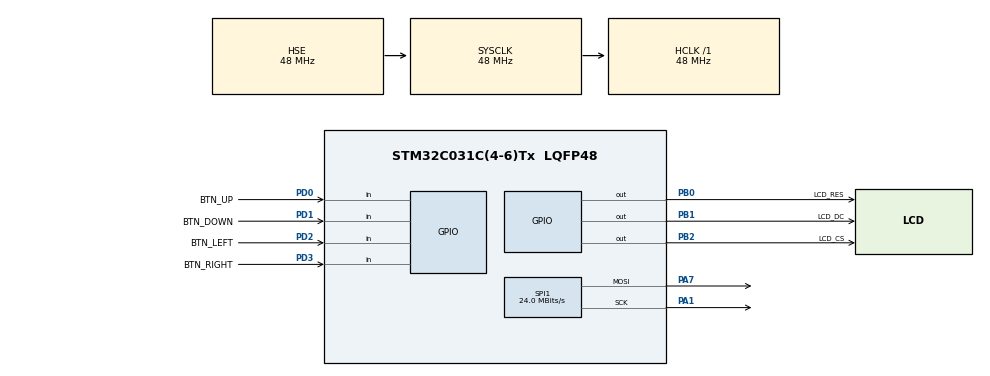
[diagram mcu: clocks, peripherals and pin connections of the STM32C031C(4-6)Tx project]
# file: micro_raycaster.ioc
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Mcu.Family=STM32C0
Mcu.Name=STM32C031C(4-6)Tx
Mcu.Package=LQFP48
NUCLEO-C031C6.BUTTON=1
NUCLEO-C031C6.LD4=true
NUCLEO-C031C6.VCP=true
NVIC.EXTI4_15_IRQn=true\:0\:0\:false\:false\:true\:false\:true\:true
PA1.GPIO_Speed=GPIO_SPEED_FREQ_HIGH
PA1.Mode=TX_Only_Simplex_Unidirect_Master
PA1.PinState=GPIO_PIN_SET
PA1.Signal=SPI1_SCK
PA13.GPIO_Label=DEBUG_SWDIO
PA13.Signal=DEBUG_SWDIO
PA14-BOOT0.GPIO_Label=DEBUG_SWCLK
PA14-BOOT0.Signal=DEBUG_SWCLK
PA2.Signal=USART2_TX
PA3.Signal=USART2_RX
PA7.GPIO_Speed=GPIO_SPEED_FREQ_HIGH
PA7.Mode=TX_Only_Simplex_Unidirect_Master
PA7.PinState=GPIO_PIN_SET
PA7.Signal=SPI1_MOSI
PB0.GPIO_Label=LCD_RES
PB0.GPIO_Speed=GPIO_SPEED_FREQ_HIGH
PB0.PinState=GPIO_PIN_SET
PB0.Signal=GPIO_Output
PB1.GPIO_Label=LCD_DC
PB1.GPIO_Speed=GPIO_SPEED_FREQ_HIGH
PB1.PinState=GPIO_PIN_SET
PB1.Signal=GPIO_Output
PB2.GPIO_Label=LCD_CS
PB2.GPIO_Speed=GPIO_SPEED_FREQ_HIGH
PB2.PinState=GPIO_PIN_SET
PB2.Signal=GPIO_Output
PC14-OSCX_IN\ (PC14).GPIO_Label=RCC_OSCX_IN
PC14-OSCX_IN\ (PC14).Mode=LSE-External-Oscillator
PC14-OSCX_IN\ (PC14).Signal=RCC_OSCX_IN
PC15-OSCX_OUT\ (PC15).GPIO_Label=RCC_OSCX_OUT
PC15-OSCX_OUT\ (PC15).Mode=LSE-External-Oscillator
PC15-OSCX_OUT\ (PC15).Signal=RCC_OSCX_OUT
PD0.GPIO_Label=BTN_UP
PD0.GPIO_PuPd=GPIO_PULLUP
PD0.Signal=GPIO_Input
PD1.GPIO_Label=BTN_DOWN
PD1.GPIO_PuPd=GPIO_PULLUP
PD1.Signal=GPIO_Input
PD2.GPIO_Label=BTN_LEFT
PD2.GPIO_PuPd=GPIO_PULLUP
PD2.Signal=GPIO_Input
PD3.GPIO_Label=BTN_RIGHT
PD3.GPIO_PuPd=GPIO_PULLUP
PD3.Signal=GPIO_Input
PF0-OSC_IN\ (PF0).GPIO_Label=RCC_OSC_IN
PF0-OSC_IN\ (PF0).Mode=HSE-External-Oscillator
PF0-OSC_IN\ (PF0).Signal=RCC_OSC_IN
PF1-OSC_OUT\ (PF1).GPIO_Label=RCC_OSC_OUT
PF1-OSC_OUT\ (PF1).Mode=HSE-External-Oscillator
PF1-OSC_OUT\ (PF1).Signal=RCC_OSC_OUT
ProjectManager.HeapSize=0x200
ProjectManager.StackSize=0x400
ProjectManager.TargetToolchain=CMake
RCC.ADCFreq_Value=48000000
RCC.AHBFreq_Value=48000000
RCC.CortexFreq_Value=48000000
RCC.EXTERNAL_CLOCK_VALUE=12288000
RCC.HCLKFreq_Value=48000000
RCC.HSE_VALUE=48000000
RCC.HSISYSCLKDivider=RCC_HSI_DIV1
RCC.HSI_VALUE=48000000
RCC.SYSCLKFreq_VALUE=48000000
RCC.SYSCLKSource=RCC_SYSCLKSOURCE_HSE
SPI1.CalculateBaudRate=24.0 MBits/s
SPI1.Direction=SPI_DIRECTION_2LINES
SPI1.Mode=SPI_MODE_MASTER
SPI1.VirtualType=VM_MASTER
VP_NUCLEO-C031C6_VS_BSP_COMMON.Mode=COMMON
board=NUCLEO-C031C6

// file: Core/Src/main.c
/* USER CODE BEGIN Header */
/**
 ******************************************************************************
 * @file           : main.c
 * @brief          : Main program body
 ******************************************************************************
 * @attention
 *
 * Copyright (c) 2026 STMicroelectronics.
 * All rights reserved.
 *
 * This software is licensed under terms that can be found in the LICENSE file
 * in the root directory of this software component.
 * If no LICENSE file comes with this software, it is provided AS-IS.
 *
 ******************************************************************************
 */
/* USER CODE END Header */
#include "main.h"

/* USER CODE BEGIN Includes */
#include "controls.h"

#include "dda.h"

#include "st7735.h"

#include "fixed_point.h"

#include "main.h"

#include "player.h"

#include <stdbool.h>

#include <stdint.h>

/* USER CODE END Includes */

/* USER CODE BEGIN PTD */
#define SCREEN_WIDTH 160
#define SCREEN_HEIGHT 128
/* USER CODE END PTD */

COM_InitTypeDef BspCOMInit;

SPI_HandleTypeDef hspi1;

void SystemClock_Config(void);
static void MX_GPIO_Init(void);
static void MX_SPI1_Init(void);

int main(void) {

  /* MCU Configuration--------------------------------------------------------*/

  /* Reset of all peripherals, Initializes the Flash interface and the Systick. */
  HAL_Init();

  /* Configure the system clock */
  SystemClock_Config();

  /* Initialize all configured peripherals */
  MX_GPIO_Init();
  MX_SPI1_Init();
  /* USER CODE BEGIN 2 */
  ST7735_Init(1);

  Player player;
  player_init( & player);

  uint32_t previous_time_ms = HAL_GetTick();
  /* USER CODE END 2 */

  /* Initialize leds */
  BSP_LED_Init(LED_GREEN);

  /* Initialize USER push-button, will be used to trigger an interrupt each time it's pressed.*/
  BSP_PB_Init(BUTTON_USER, BUTTON_MODE_EXTI);

  /* Initialize COM1 port (115200, 8 bits (7-bit data + 1 stop bit), no parity */
  BspCOMInit.BaudRate = 115200;
  BspCOMInit.WordLength = COM_WORDLENGTH_8B;
  BspCOMInit.StopBits = COM_STOPBITS_1;
  BspCOMInit.Parity = COM_PARITY_NONE;
  BspCOMInit.HwFlowCtl = COM_HWCONTROL_NONE;
  if (BSP_COM_Init(COM1, & BspCOMInit) != BSP_ERROR_NONE) {
    Error_Handler();
  }

  /* Infinite loop */
  /* USER CODE BEGIN WHILE */
  while (1) {
    uint32_t current_time_ms = HAL_GetTick();
    uint32_t delta_ms = current_time_ms - previous_time_ms;
    previous_time_ms = current_time_ms;

    if (delta_ms > 100) {
      delta_ms = 100;
    }

    int32_t frame_time = FIXED_DIV(INT_TO_FIXED(delta_ms), INT_TO_FIXED(1000));

    int32_t move_speed = FIXED_PRODUCT(frame_time, FLOAT_TO_FIXED(5.0F));
    int32_t rotate_speed = FIXED_PRODUCT(frame_time, FLOAT_TO_FIXED(90.0F));

    if (is_button_held(BTN_UP_PORT, BTN_UP_PIN)) {
      player_move_forward( & player, move_speed);
    }
    if (is_button_held(BTN_DOWN_PORT, BTN_DOWN_PIN)) {
      player_move_backward( & player, move_speed);
    }

    if (is_button_held(BTN_LEFT_PORT, BTN_LEFT_PIN)) {
      player_rotate( & player, -FIXED_TO_INT(rotate_speed));
    }
    if (is_button_held(BTN_RIGHT_PORT, BTN_RIGHT_PIN)) {
      player_rotate( & player, FIXED_TO_INT(rotate_speed));
    }

    update_and_render( & player, SCREEN_WIDTH, SCREEN_HEIGHT);
    /* USER CODE END WHILE */

  }
}

void SystemClock_Config(void) {
  RCC_OscInitTypeDef RCC_OscInitStruct = {
    0
  };
  RCC_ClkInitTypeDef RCC_ClkInitStruct = {
    0
  };

  __HAL_FLASH_SET_LATENCY(FLASH_LATENCY_1);

  /** Initializes the RCC Oscillators according to the specified parameters
   * in the RCC_OscInitTypeDef structure.
   */
  RCC_OscInitStruct.OscillatorType = RCC_OSCILLATORTYPE_HSE;
  RCC_OscInitStruct.HSEState = RCC_HSE_ON;
  if (HAL_RCC_OscConfig( & RCC_OscInitStruct) != HAL_OK) {
    Error_Handler();
  }

  /** Initializes the CPU, AHB and APB buses clocks
   */
  RCC_ClkInitStruct.ClockType = RCC_CLOCKTYPE_HCLK | RCC_CLOCKTYPE_SYSCLK |
    RCC_CLOCKTYPE_PCLK1;
  RCC_ClkInitStruct.SYSCLKSource = RCC_SYSCLKSOURCE_HSE;
  RCC_ClkInitStruct.SYSCLKDivider = RCC_SYSCLK_DIV1;
  RCC_ClkInitStruct.AHBCLKDivider = RCC_HCLK_DIV1;
  RCC_ClkInitStruct.APB1CLKDivider = RCC_APB1_DIV1;

  if (HAL_RCC_ClockConfig( & RCC_ClkInitStruct, FLASH_LATENCY_1) != HAL_OK) {
    Error_Handler();
  }
}

static void MX_SPI1_Init(void) {

  /* SPI1 parameter configuration*/
  hspi1.Instance = SPI1;
  hspi1.Init.Mode = SPI_MODE_MASTER;
  hspi1.Init.Direction = SPI_DIRECTION_2LINES;
  hspi1.Init.DataSize = SPI_DATASIZE_8BIT;
  hspi1.Init.CLKPolarity = SPI_POLARITY_LOW;
  hspi1.Init.CLKPhase = SPI_PHASE_1EDGE;
  hspi1.Init.NSS = SPI_NSS_SOFT;
  hspi1.Init.BaudRatePrescaler = SPI_BAUDRATEPRESCALER_2;
  hspi1.Init.FirstBit = SPI_FIRSTBIT_MSB;
  hspi1.Init.TIMode = SPI_TIMODE_DISABLE;
  hspi1.Init.CRCCalculation = SPI_CRCCALCULATION_DISABLE;
  hspi1.Init.CRCPolynomial = 7;
  hspi1.Init.CRCLength = SPI_CRC_LENGTH_DATASIZE;
  hspi1.Init.NSSPMode = SPI_NSS_PULSE_ENABLE;
  if (HAL_SPI_Init( & hspi1) != HAL_OK) {
    Error_Handler();
  }

}

static void MX_GPIO_Init(void) {
  GPIO_InitTypeDef GPIO_InitStruct = {
    0
  };

  /* GPIO Ports Clock Enable */
  __HAL_RCC_GPIOC_CLK_ENABLE();
  __HAL_RCC_GPIOF_CLK_ENABLE();
  __HAL_RCC_GPIOA_CLK_ENABLE();
  __HAL_RCC_GPIOB_CLK_ENABLE();
  __HAL_RCC_GPIOD_CLK_ENABLE();

  /*Configure GPIO pin Output Level */
  HAL_GPIO_WritePin(GPIOB, LCD_RES_Pin | LCD_DC_Pin | LCD_CS_Pin, GPIO_PIN_SET);

  /*Configure GPIO pins : LCD_RES_Pin LCD_DC_Pin LCD_CS_Pin */
  GPIO_InitStruct.Pin = LCD_RES_Pin | LCD_DC_Pin | LCD_CS_Pin;
  GPIO_InitStruct.Mode = GPIO_MODE_OUTPUT_PP;
  GPIO_InitStruct.Pull = GPIO_NOPULL;
  GPIO_InitStruct.Speed = GPIO_SPEED_FREQ_HIGH;
  HAL_GPIO_Init(GPIOB, & GPIO_InitStruct);

  /*Configure GPIO pins : BTN_UP_Pin BTN_DOWN_Pin BTN_LEFT_Pin BTN_RIGHT_Pin */
  GPIO_InitStruct.Pin = BTN_UP_Pin | BTN_DOWN_Pin | BTN_LEFT_Pin | BTN_RIGHT_Pin;
  GPIO_InitStruct.Mode = GPIO_MODE_INPUT;
  GPIO_InitStruct.Pull = GPIO_PULLUP;
  HAL_GPIO_Init(GPIOD, & GPIO_InitStruct);

}

void Error_Handler(void) {
  __disable_irq();
  while (1) {}
}
